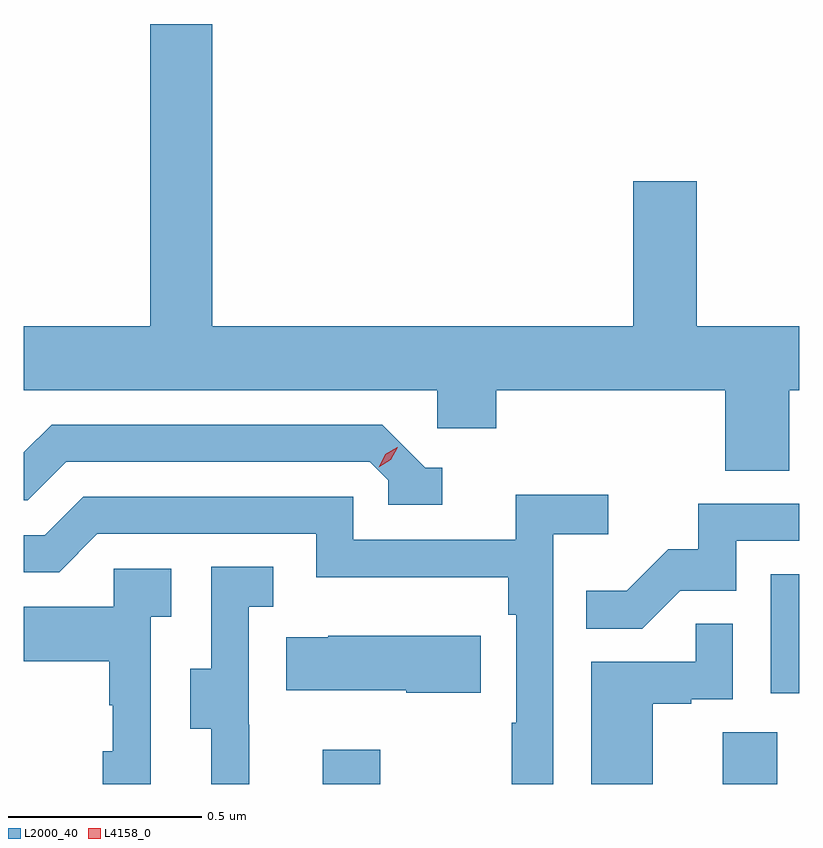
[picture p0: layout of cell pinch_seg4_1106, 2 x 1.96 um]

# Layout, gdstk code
import gdstk
lib = gdstk.Library(unit=1e-6, precision=1e-09)
def R(c, l, rs):  # rectangles x0, y0, x1, y1
    for r in rs: c.add(gdstk.rectangle(r[:2], r[2:], *l))
def P(c, l, *ps):  # polygons
    for p in ps: c.add(gdstk.Polygon(p, *l))
L2000_40 = (2000, 40)
L4158_0 = (4158, 0)

pinch_seg4_1106 = lib.new_cell('pinch_seg4_1106')
R(pinch_seg4_1106, L2000_40, [(835.535,758.508,835.683,758.596), (836.567,758.508,836.707,758.642), (836.69,758.742,836.764,759.049)])
P(pinch_seg4_1106, L2000_40, [(836.738,759.524),(836.764,759.524),(836.764,759.688),(836.5,759.688),(836.5,760.063),(836.336,760.063),(836.336,759.688),(835.25,759.688),(835.25,760.468),(835.09,760.468),(835.09,759.688),(834.764,759.688),(834.764,759.524),(835.83,759.524),(835.83,759.426),(835.982,759.426),(835.982,759.524),(836.573,759.524),(836.573,759.316),(836.738,759.316)],
  [(835.843,759.324),(835.8,759.324),(835.689,759.435),(834.836,759.435),(834.764,759.363),(834.764,759.24),(834.774,759.24),(834.873,759.339),(835.656,759.339),(835.704,759.291),(835.704,759.228),(835.843,759.228)],
  [(836.13,759.152),(836.272,759.152),(836.272,759.254),(836.033,759.254),(836.033,759.138),(835.614,759.138),(835.614,759.249),(834.917,759.249),(834.818,759.15),(834.764,759.15),(834.764,759.054),(834.855,759.054),(834.954,759.153),(835.518,759.153),(835.518,759.041),(836.014,759.041),(836.014,758.945),(836.034,758.945),(836.034,758.666),(836.022,758.666),(836.022,758.508),(836.13,758.508)],
  [(836.457,759.006),(836.601,759.006),(836.601,759.135),(836.764,759.135),(836.764,759.231),(836.503,759.231),(836.503,759.114),(836.426,759.114),(836.319,759.007),(836.215,759.007),(836.215,758.908),(836.359,758.908)],
  [(835.346,758.661),(835.344,758.661),(835.344,758.965),(835.408,758.965),(835.408,759.068),(835.248,759.068),(835.248,758.805),(835.193,758.805),(835.193,758.65),(835.247,758.65),(835.247,758.508),(835.346,758.508)],
  [(835.092,758.939),(835.144,758.939),(835.144,759.063),(834.996,759.063),(834.996,758.965),(834.764,758.965),(834.764,758.825),(834.984,758.825),(834.984,758.711),(834.994,758.711),(834.994,758.592),(834.968,758.592),(834.968,758.508),(835.092,758.508)],
  [(836.386,758.715),(836.486,758.715),(836.486,758.727),(836.592,758.727),(836.592,758.921),(836.497,758.921),(836.497,758.823),(836.228,758.823),(836.228,758.508),(836.386,758.508)],
  [(835.942,758.89),(835.549,758.89),(835.549,758.887),(835.441,758.887),(835.441,758.75),(835.751,758.75),(835.751,758.743),(835.942,758.743)])
P(pinch_seg4_1106, L4158_0, [(835.68,759.325),(835.68,759.325),(835.696,759.358),(835.727,759.377),(835.728,759.377),(835.728,759.377),(835.711,759.344),(835.68,759.325)])

lib.write_gds('pinch_seg4_1106.gds')
